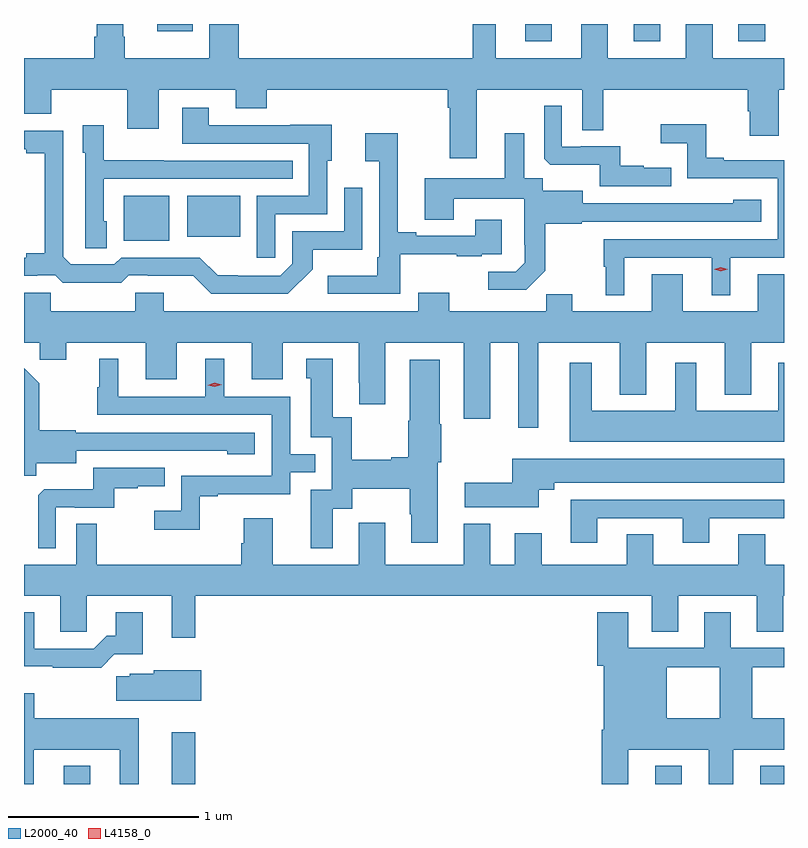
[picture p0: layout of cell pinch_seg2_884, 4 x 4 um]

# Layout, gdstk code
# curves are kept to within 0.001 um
import gdstk
lib = gdstk.Library(unit=1e-6, precision=1e-09)
def R(c, l, rs):  # rectangles x0, y0, x1, y1
    for r in rs: c.add(gdstk.rectangle(r[:2], r[2:], *l))
def P(c, l, *ps):  # polygons
    for p in ps: c.add(gdstk.Polygon(p, *l))
L2000_40 = (2000, 40)
L4158_0 = (4158, 0)

pinch_seg2_884 = lib.new_cell('pinch_seg2_884')
R(pinch_seg2_884, L2000_40, [(456.041,639.985,456.181,640.081), (456.611,639.985,456.733,640.258), (459.155,639.985,459.295,640.081), (459.707,639.985,459.833,640.081), (456.359,642.845,456.598,643.081), (456.692,642.866,456.97,643.081), (458.471,643.893,458.611,643.985), (459.041,643.893,459.181,643.985), (459.593,643.893,459.733,643.985), (456.533,643.946,456.721,643.985)])
P(pinch_seg2_884, L2000_40, [(456.363,643.917),(456.355,643.917),(456.355,643.985),(456.215,643.985),(456.215,643.917),(456.203,643.917),(456.203,643.804),(455.833,643.804),(455.833,643.512),(455.977,643.512),(455.977,643.64),(456.377,643.64),(456.377,643.434),(456.541,643.434),(456.541,643.64),(456.947,643.64),(456.947,643.541),(457.111,643.541),(457.111,643.64),(458.063,643.64),(458.063,643.544),(458.075,643.544),(458.075,643.278),(458.215,643.278),(458.215,643.64),(458.772,643.64),(458.772,643.426),(458.881,643.426),(458.881,643.64),(459.641,643.64),(459.641,643.527),(459.653,643.527),(459.653,643.398),(459.805,643.398),(459.805,643.64),(459.833,643.64),(459.833,643.804),(459.457,643.804),(459.457,643.985),(459.317,643.985),(459.317,643.804),(458.905,643.804),(458.905,643.985),(458.766,643.985),(458.766,643.804),(458.317,643.804),(458.317,643.985),(458.196,643.985),(458.196,643.804),(456.962,643.804),(456.962,643.985),(456.809,643.985),(456.809,643.804),(456.363,643.804)],
  [(459.239,643.228),(459.095,643.228),(459.095,643.24),(458.972,643.24),(458.972,643.341),(458.764,643.341),(458.764,643.338),(458.664,643.338),(458.664,643.555),(458.571,643.555),(458.571,643.275),(458.603,643.244),(458.862,643.244),(458.862,643.131),(459.239,643.131)],
  [(457.155,642.984),(457.428,642.984),(457.428,643.266),(457.453,643.266),(457.453,643.454),(457.235,643.454),(457.235,643.452),(456.805,643.452),(456.805,643.543),(456.665,643.543),(456.665,643.356),(457.332,643.356),(457.332,643.08),(457.059,643.08),(457.059,642.756),(457.155,642.756)],
  [(458.992,642.756),(459.452,642.756),(459.452,642.557),(459.55,642.557),(459.55,642.756),(459.833,642.756),(459.833,643.269),(459.517,643.269),(459.517,643.282),(459.423,643.282),(459.423,643.457),(459.183,643.457),(459.183,643.358),(459.324,643.358),(459.324,643.173),(459.801,643.173),(459.801,642.852),(458.883,642.852),(458.883,642.708),(458.894,642.708),(458.894,642.557),(458.992,642.557)],
  [(456.268,642.948),(456.252,642.948),(456.252,643.17),(457.247,643.17),(457.247,643.266),(456.569,643.266),(456.569,643.267),(456.252,643.267),(456.252,643.453),(456.143,643.453),(456.143,643.308),(456.156,643.308),(456.156,642.805),(456.268,642.805)],
  [(457.353,642.695),(457.353,642.797),(457.614,642.797),(457.614,643.123),(457.518,643.123),(457.518,642.894),(457.245,642.894),(457.245,642.723),(457.182,642.66),(456.958,642.66),(456.958,642.662),(456.854,642.662),(456.759,642.756),(456.345,642.756),(456.309,642.72),(456.078,642.72),(456.039,642.759),(456.039,643.422),(455.833,643.422),(455.833,643.326),(455.846,643.326),(455.846,643.306),(455.942,643.306),(455.942,642.779),(455.846,642.779),(455.846,642.756),(455.833,642.756),(455.833,642.659),(455.903,642.659),(455.903,642.663),(455.997,642.663),(456.037,642.624),(456.345,642.624),(456.384,642.663),(456.484,642.663),(456.484,642.659),(456.725,642.659),(456.819,642.564),(457.222,642.564)],
  [(458.577,642.687),(458.577,642.933),(458.769,642.933),(458.769,642.945),(459.712,642.945),(459.712,643.06),(459.567,643.06),(459.567,643.042),(458.773,643.041),(458.773,643.108),(458.562,643.108),(458.562,643.172),(458.467,643.172),(458.467,643.411),(458.363,643.411),(458.363,643.174),(457.943,643.174),(457.943,642.955),(458.095,642.955),(458.095,643.064),(458.466,643.064),(458.466,642.823),(458.468,642.823),(458.468,642.728),(458.421,642.681),(458.277,642.681),(458.277,642.587),(458.477,642.587)],
  [(457.813,642.773),(458.111,642.773),(458.111,642.762),(458.243,642.762),(458.243,642.774),(458.347,642.774),(458.347,642.955),(458.207,642.955),(458.207,642.87),(457.897,642.87),(457.897,642.889),(457.801,642.889),(457.801,643.411),(457.629,643.411),(457.629,643.262),(457.704,643.262),(457.704,642.757),(457.692,642.757),(457.692,642.661),(457.431,642.661),(457.431,642.564),(457.813,642.564)],
  [(458.539,642.308),(458.969,642.308),(458.969,642.035),(459.109,642.035),(459.109,642.308),(459.521,642.308),(459.521,642.035),(459.661,642.035),(459.661,642.308),(459.833,642.308),(459.833,642.667),(459.695,642.667),(459.695,642.472),(459.301,642.472),(459.301,642.667),(459.137,642.667),(459.137,642.472),(458.719,642.472),(458.719,642.563),(458.581,642.563),(458.581,642.472),(458.071,642.472),(458.071,642.571),(457.907,642.571),(457.907,642.472),(456.568,642.472),(456.568,642.57),(456.418,642.57),(456.418,642.472),(455.973,642.472),(455.973,642.57),(455.833,642.57),(455.833,642.308),(455.917,642.308),(455.917,642.218),(456.055,642.218),(456.055,642.308),(456.473,642.308),(456.473,642.114),(456.637,642.114),(456.637,642.308),(457.031,642.308),(457.031,642.114),(457.195,642.114),(457.195,642.308),(457.595,642.308),(457.595,642.097),(457.598,642.097),(457.598,641.985),(457.735,641.985),(457.735,642.308),(458.147,642.308),(458.147,641.907),(458.287,641.907),(458.287,642.308),(458.435,642.308),(458.435,641.859),(458.539,641.859)],
  [(456.759,641.499),(456.853,641.499),(456.853,641.511),(457.233,641.511),(457.233,641.625),(457.367,641.625),(457.367,641.721),(457.233,641.721),(457.233,642.024),(456.886,642.024),(456.886,642.223),(456.788,642.223),(456.788,642.024),(456.328,642.024),(456.328,642.223),(456.23,642.223),(456.23,642.072),(456.219,642.072),(456.219,641.928),(457.137,641.928),(457.137,641.607),(456.66,641.607),(456.66,641.422),(456.519,641.422),(456.519,641.324),(456.759,641.324)],
  [(457.459,641.434),(457.561,641.434),(457.561,641.54),(457.864,641.54),(457.864,641.406),(457.871,641.406),(457.871,641.256),(458.011,641.256),(458.011,641.678),(458.028,641.678),(458.028,641.878),(458.02,641.878),(458.02,642.217),(457.862,642.217),(457.862,641.897),(457.855,641.897),(457.855,641.705),(457.766,641.705),(457.766,641.692),(457.557,641.692),(457.557,641.915),(457.459,641.915),(457.459,642.223),(457.319,642.223),(457.319,642.12),(457.343,642.12),(457.343,641.811),(457.452,641.811),(457.452,641.535),(457.343,641.535),(457.343,641.226),(457.459,641.226)],
  [(459.833,642.202),(459.803,642.202),(459.803,641.95),(459.37,641.95),(459.37,642.202),(459.26,642.202),(459.26,641.95),(458.821,641.95),(458.821,642.202),(458.705,642.202),(458.705,641.786),(459.833,641.786)],
  [(455.898,641.672),(456.109,641.672),(456.109,641.739),(456.903,641.738),(456.903,641.72),(457.048,641.72),(457.048,641.835),(456.105,641.835),(456.105,641.848),(455.913,641.848),(455.913,642.093),(455.833,642.173),(455.833,641.608),(455.898,641.608)],
  [(458.542,641.534),(458.623,641.534),(458.623,641.57),(459.833,641.57),(459.833,641.698),(458.402,641.698),(458.402,641.571),(458.154,641.571),(458.154,641.441),(458.542,641.441)],
  [(456,641.442),(456.1,641.442),(456.1,641.439),(456.308,641.439),(456.308,641.541),(456.431,641.541),(456.431,641.552),(456.575,641.552),(456.575,641.649),(456.198,641.649),(456.198,641.537),(455.939,641.537),(455.907,641.505),(455.907,641.225),(456,641.225)],
  [(458.851,641.385),(459.299,641.385),(459.299,641.256),(459.439,641.256),(459.439,641.385),(459.833,641.385),(459.833,641.481),(458.711,641.481),(458.711,641.256),(458.851,641.256)],
  [(456.733,640.976),(459.137,640.976),(459.137,640.786),(459.277,640.786),(459.277,640.976),(459.689,640.976),(459.689,640.786),(459.829,640.786),(459.829,640.976),(459.833,640.976),(459.833,641.14),(459.733,641.14),(459.733,641.3),(459.593,641.3),(459.593,641.14),(459.145,641.14),(459.145,641.3),(459.005,641.3),(459.005,641.14),(458.557,641.14),(458.557,641.305),(458.417,641.305),(458.417,641.14),(458.287,641.14),(458.287,641.356),(458.147,641.356),(458.147,641.14),(457.735,641.14),(457.735,641.359),(457.595,641.359),(457.595,641.14),(457.141,641.14),(457.141,641.383),(456.989,641.383),(456.989,641.253),(456.977,641.253),(456.977,641.14),(456.217,641.14),(456.217,641.354),(456.108,641.354),(456.108,641.14),(455.833,641.14),(455.833,640.976),(456.023,640.976),(456.023,640.786),(456.162,640.786),(456.162,640.976),(456.611,640.976),(456.611,640.755),(456.733,640.755)],
  [(458.873,640.27),(458.873,639.985),(459.013,639.985),(459.013,640.166),(459.437,640.166),(459.437,639.985),(459.565,639.985),(459.565,640.166),(459.833,640.166),(459.833,640.33),(459.665,640.33),(459.665,640.6),(459.833,640.6),(459.833,640.701),(459.553,640.701),(459.553,640.888),(459.413,640.888),(459.413,640.701),(459.013,640.701),(459.013,640.888),(458.849,640.888),(458.849,640.608),(458.885,640.608),(458.885,640.33),(459.217,640.33),(459.217,640.6),(459.494,640.6),(459.494,640.33),(459.217,640.33),(458.885,640.33),(458.885,640.27)],
  [(456.309,640.668),(456.457,640.668),(456.457,640.888),(456.317,640.888),(456.317,640.765),(456.268,640.765),(456.201,640.698),(455.887,640.698),(455.887,640.888),(455.833,640.888),(455.833,640.604),(455.983,640.604),(455.983,640.598),(456.239,640.598)],
  [(456.766,640.585),(456.516,640.585),(456.516,640.564),(456.39,640.564),(456.39,640.553),(456.318,640.553),(456.318,640.424),(456.766,640.424)],
  [(455.884,640.166),(456.338,640.166),(456.338,639.985),(456.436,639.985),(456.436,640.33),(455.886,640.33),(455.886,640.462),(455.833,640.462),(455.833,639.985),(455.884,639.985)])
P(pinch_seg2_884, L4158_0, [(456.837,642.076),(456.801,642.084),(456.801,642.084),(456.801,642.084),(456.837,642.096),(456.873,642.087),(456.873,642.087),(456.873,642.087)],
  [(459.501,642.685),(459.465,642.695),(459.465,642.695),(459.465,642.695),(459.501,642.705),(459.537,642.695),(459.537,642.695),(459.537,642.695)])

lib.write_gds('pinch_seg2_884.gds')
